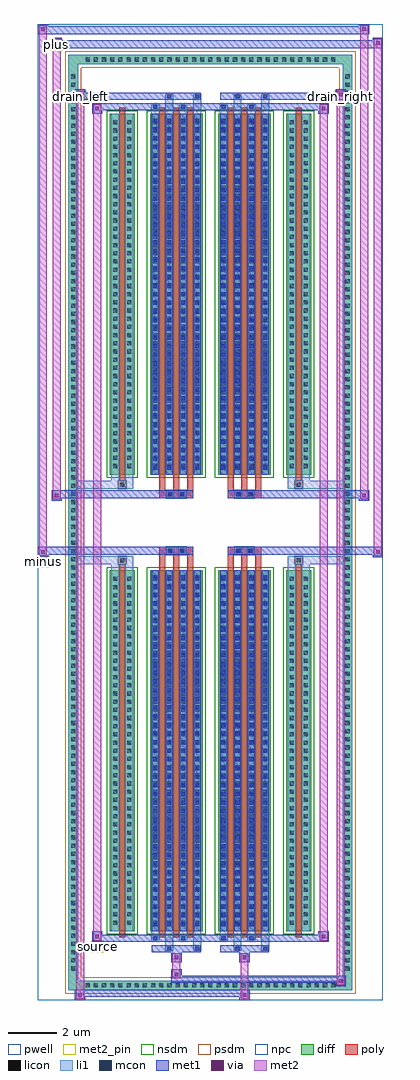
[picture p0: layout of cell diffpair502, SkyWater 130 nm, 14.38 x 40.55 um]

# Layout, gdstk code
import gdstk
lib = gdstk.Library(unit=1e-6, precision=5e-09)
def R(c, l, rs):  # rectangles x0, y0, x1, y1
    for r in rs: c.add(gdstk.rectangle(r[:2], r[2:], *l))
def A(c, l, x, y, w, h, nx, ny, dx, dy):  # array of equal rectangles
    R(c, l, [(x+i*dx, y+j*dy, x+i*dx+w, y+j*dy+h) for i in range(nx) for j in range(ny)])
def P(c, l, *ps):  # polygons
    for p in ps: c.add(gdstk.Polygon(p, *l))
pwell = (64, 44)
diff = (65, 20)
poly = (66, 20)
licon = (66, 44)
li1 = (67, 20)
mcon = (67, 44)
met1 = (68, 20)
via = (68, 44)
met2_pin = (69, 16)
met2 = (69, 20)
nsdm = (93, 44)
psdm = (94, 20)
npc = (95, 20)

diffpair502 = lib.new_cell('diffpair502')
R(diffpair502, pwell, [(-7.17,-19.84,7.17,20.71), (-4.49,-18.03,-0.01,-0.805), (0.01,-18.03,4.49,-0.805), (-4.49,0.805,-0.01,18.03), (0.01,0.805,4.49,18.03)])
A(diffpair502, diff, -5.305, -19.44, 0.41, 0.41, 31, 2, 0.34, 38.47)
A(diffpair502, diff, -5.9, -18.735, 0.41, 0.41, 1, 110, 0, 0.34)
A(diffpair502, diff, 5.49, -18.735, 0.41, 0.41, 1, 110, 0, 0.34)
R(diffpair502, diff, [(-5.305,-19.44,5.305,-19.03), (-5.9,-18.735,-5.49,18.735), (5.49,-18.735,5.9,18.735), (-4.18,-16.985,-3.15,-1.985), (-2.51,-16.985,-0.32,-1.985), (0.32,-16.985,2.51,-1.985), (3.15,-16.985,4.18,-1.985), (-4.18,1.985,-3.15,16.985), (-2.51,1.985,-0.32,16.985), (0.32,1.985,2.51,16.985), (3.15,1.985,4.18,16.985), (-5.305,19.03,5.305,19.44)])
P(diffpair502, diff, [(5.9,19.44),(-5.9,19.44),(-5.9,-19.03),(-5.49,-19.03),(-5.49,19.03),(5.49,19.03),(5.49,-19.03),(-5.49,-19.03),(-5.9,-19.03),(-5.9,-19.44),(5.9,-19.44)])
A(diffpair502, poly, -2.12, -17.235, 0.25, 15.5, 3, 2, 0.58, 18.97)
A(diffpair502, poly, 0.71, -17.235, 0.25, 15.5, 3, 2, 0.58, 18.97)
A(diffpair502, poly, -2.12, -1.735, 0.25, 0.4, 3, 2, 0.58, 3.07)
A(diffpair502, poly, 0.71, -1.735, 0.25, 0.4, 3, 2, 0.58, 3.07)
R(diffpair502, poly, [(-3.79,-17.235,-3.54,-1.735), (3.54,-17.235,3.79,-1.735), (-3.83,-1.735,-3.5,-1.405), (-3.83,-1.735,-3.5,-1.405), (3.5,-1.735,3.83,-1.405), (3.5,-1.735,3.83,-1.405), (-2.12,-1.335,-0.71,-1.005), (-1.83,-1.335,-1.5,-1.005), (-1.33,-1.335,-1,-1.005), (0.71,-1.335,2.12,-1.005), (1,-1.335,1.33,-1.005), (1.5,-1.335,1.83,-1.005), (-2.12,1.005,-0.71,1.335), (-1.83,1.005,-1.5,1.335), (-1.33,1.005,-1,1.335), (0.71,1.005,2.12,1.335), (1,1.005,1.33,1.335), (1.5,1.005,1.83,1.335), (-3.83,1.405,-3.5,1.735), (-3.83,1.405,-3.5,1.735), (3.5,1.405,3.83,1.735), (3.5,1.405,3.83,1.735), (-3.79,1.735,-3.54,17.235), (3.54,1.735,3.79,17.235)])
A(diffpair502, licon, -5.185, -19.32, 0.17, 0.17, 31, 2, 0.34, 38.47)
A(diffpair502, licon, -5.78, -18.615, 0.17, 0.17, 1, 110, 0, 0.34)
A(diffpair502, licon, 5.61, -18.615, 0.17, 0.17, 1, 110, 0, 0.34)
A(diffpair502, licon, -4.04, -16.71, 0.17, 0.17, 1, 43, 0, 0.34)
A(diffpair502, licon, -3.46, -16.71, 0.17, 0.17, 1, 43, 0, 0.34)
A(diffpair502, licon, -2.37, -16.71, 0.17, 0.17, 4, 43, 0.58, 0.34)
A(diffpair502, licon, 0.46, -16.71, 0.17, 0.17, 4, 43, 0.58, 0.34)
A(diffpair502, licon, 3.29, -16.71, 0.17, 0.17, 1, 43, 0, 0.34)
A(diffpair502, licon, 3.87, -16.71, 0.17, 0.17, 1, 43, 0, 0.34)
A(diffpair502, licon, -4.04, 2.26, 0.17, 0.17, 1, 43, 0, 0.34)
A(diffpair502, licon, -3.46, 2.26, 0.17, 0.17, 1, 43, 0, 0.34)
A(diffpair502, licon, -2.37, 2.26, 0.17, 0.17, 4, 43, 0.58, 0.34)
A(diffpair502, licon, 0.46, 2.26, 0.17, 0.17, 4, 43, 0.58, 0.34)
A(diffpair502, licon, 3.29, 2.26, 0.17, 0.17, 1, 43, 0, 0.34)
A(diffpair502, licon, 3.87, 2.26, 0.17, 0.17, 1, 43, 0, 0.34)
R(diffpair502, licon, [(-3.75,-1.655,-3.58,-1.485), (3.58,-1.655,3.75,-1.485), (-1.75,-1.255,-1.58,-1.085), (-1.25,-1.255,-1.08,-1.085), (1.08,-1.255,1.25,-1.085), (1.58,-1.255,1.75,-1.085), (-1.75,1.085,-1.58,1.255), (-1.25,1.085,-1.08,1.255), (1.08,1.085,1.25,1.255), (1.58,1.085,1.75,1.255), (-3.75,1.485,-3.58,1.655), (3.58,1.485,3.75,1.655)])
A(diffpair502, li1, -5.265, -19.4, 0.33, 0.33, 31, 2, 0.34, 38.47)
A(diffpair502, li1, -5.86, -18.695, 0.33, 0.33, 1, 110, 0, 0.34)
A(diffpair502, li1, 5.53, -18.695, 0.33, 0.33, 1, 110, 0, 0.34)
A(diffpair502, li1, -2.45, -16.985, 0.33, 15, 4, 2, 0.58, 18.97)
A(diffpair502, li1, 0.38, -16.985, 0.33, 15, 4, 2, 0.58, 18.97)
A(diffpair502, li1, -4.12, -16.79, 0.33, 0.33, 1, 43, 0, 0.34)
A(diffpair502, li1, -3.54, -16.79, 0.33, 0.33, 1, 43, 0, 0.34)
A(diffpair502, li1, -2.45, -16.79, 0.33, 0.33, 4, 43, 0.58, 0.34)
A(diffpair502, li1, 0.38, -16.79, 0.33, 0.33, 4, 43, 0.58, 0.34)
A(diffpair502, li1, 3.21, -16.79, 0.33, 0.33, 1, 43, 0, 0.34)
A(diffpair502, li1, 3.79, -16.79, 0.33, 0.33, 1, 43, 0, 0.34)
A(diffpair502, li1, -2.37, -16.77, 0.17, 0.17, 4, 41, 0.58, 0.36)
A(diffpair502, li1, -2.37, -16.77, 0.17, 14.57, 4, 2, 0.58, 18.97)
A(diffpair502, li1, 0.46, -16.77, 0.17, 0.17, 4, 41, 0.58, 0.36)
A(diffpair502, li1, 0.46, -16.77, 0.17, 14.57, 4, 2, 0.58, 18.97)
A(diffpair502, li1, -4.12, 2.18, 0.33, 0.33, 1, 43, 0, 0.34)
A(diffpair502, li1, -3.54, 2.18, 0.33, 0.33, 1, 43, 0, 0.34)
A(diffpair502, li1, -2.45, 2.18, 0.33, 0.33, 4, 43, 0.58, 0.34)
A(diffpair502, li1, 0.38, 2.18, 0.33, 0.33, 4, 43, 0.58, 0.34)
A(diffpair502, li1, 3.21, 2.18, 0.33, 0.33, 1, 43, 0, 0.34)
A(diffpair502, li1, 3.79, 2.18, 0.33, 0.33, 1, 43, 0, 0.34)
A(diffpair502, li1, -2.37, 2.2, 0.17, 0.17, 4, 41, 0.58, 0.36)
A(diffpair502, li1, 0.46, 2.2, 0.17, 0.17, 4, 41, 0.58, 0.36)
R(diffpair502, li1, [(-5.9,-19.44,-5.49,-19.03), (-5.9,-19.44,-5.49,-19.03), (-5.49,-19.44,5.49,-19.03), (5.49,-19.44,5.9,-19.03), (5.49,-19.44,5.9,-19.03), (-5.9,-19.03,-5.49,19.03), (5.49,-19.03,5.9,19.03), (-1.87,-17.79,-1.54,-16.985), (-1.79,-17.79,-1.62,-17.62), (-0.71,-17.79,-0.38,-16.985), (-0.63,-17.79,-0.46,-17.62), (0.96,-17.79,1.29,-16.985), (1.04,-17.79,1.21,-17.62), (2.12,-17.79,2.45,-16.985), (2.2,-17.79,2.37,-17.62), (-2.45,-17.36,-2.12,-16.985), (-2.37,-17.36,-2.2,-17.19), (-1.29,-17.36,-0.96,-16.985), (-1.21,-17.36,-1.04,-17.19), (0.38,-17.36,0.71,-16.985), (0.46,-17.36,0.63,-17.19), (1.54,-17.36,1.87,-16.985), (1.62,-17.36,1.79,-17.19), (-4.12,-16.985,-3.79,-1.985), (-3.54,-16.985,-3.21,-1.985), (3.21,-16.985,3.54,-1.985), (3.79,-16.985,4.12,-1.985), (-4.12,-1.985,-3.79,-1.405), (-3.54,-1.985,-3.21,-1.405), (3.21,-1.985,3.54,-1.405), (3.79,-1.985,4.12,-1.405), (-5.9,-1.735,-3.83,-1.405), (-4.12,-1.735,-3.83,-1.405), (-3.83,-1.735,-3.5,-1.405), (-3.5,-1.735,-3.21,-1.405), (3.21,-1.735,3.5,-1.405), (3.5,-1.735,3.83,-1.405), (3.5,-1.735,5.9,-1.405), (3.83,-1.735,4.12,-1.405), (-1.83,-1.335,-1.5,-1.005), (-1.33,-1.335,-1,-1.005), (1,-1.335,1.33,-1.005), (1.5,-1.335,1.83,-1.005), (-1.83,1.005,-1.5,1.335), (-1.33,1.005,-1,1.335), (1,1.005,1.33,1.335), (1.5,1.005,1.83,1.335), (-5.9,1.405,-3.83,1.735), (-4.12,1.405,-3.83,1.735), (-4.12,1.405,-3.79,1.985), (-3.83,1.405,-3.5,1.735), (-3.54,1.405,-3.21,1.985), (-3.5,1.405,-3.21,1.735), (3.21,1.405,3.5,1.735), (3.21,1.405,3.54,1.985), (3.5,1.405,3.83,1.735), (3.5,1.405,5.9,1.735), (3.79,1.405,4.12,1.985), (3.83,1.405,4.12,1.735), (-4.12,1.985,-3.79,16.985), (-3.54,1.985,-3.21,16.985), (3.21,1.985,3.54,16.985), (3.79,1.985,4.12,16.985), (-2.45,16.985,-2.12,17.36), (-1.87,16.985,-1.54,17.79), (-1.29,16.985,-0.96,17.36), (-0.71,16.985,-0.38,17.79), (0.38,16.985,0.71,17.36), (0.96,16.985,1.29,17.79), (1.54,16.985,1.87,17.36), (2.12,16.985,2.45,17.79), (-2.37,17.19,-2.2,17.36), (-1.21,17.19,-1.04,17.36), (0.46,17.19,0.63,17.36), (1.62,17.19,1.79,17.36), (-1.79,17.62,-1.62,17.79), (-0.63,17.62,-0.46,17.79), (1.04,17.62,1.21,17.79), (2.2,17.62,2.37,17.79), (-5.9,19.03,-5.49,19.44), (-5.9,19.03,-5.49,19.44), (-5.49,19.03,5.49,19.44), (5.49,19.03,5.9,19.44), (5.49,19.03,5.9,19.44)])
A(diffpair502, mcon, -2.37, -16.77, 0.17, 0.17, 4, 41, 0.58, 0.36)
A(diffpair502, mcon, 0.46, -16.77, 0.17, 0.17, 4, 41, 0.58, 0.36)
A(diffpair502, mcon, -2.37, 2.2, 0.17, 0.17, 4, 41, 0.58, 0.36)
A(diffpair502, mcon, 0.46, 2.2, 0.17, 0.17, 4, 41, 0.58, 0.36)
R(diffpair502, mcon, [(-1.79,-17.79,-1.62,-17.62), (-0.63,-17.79,-0.46,-17.62), (1.04,-17.79,1.21,-17.62), (2.2,-17.79,2.37,-17.62), (-2.37,-17.36,-2.2,-17.19), (-1.21,-17.36,-1.04,-17.19), (0.46,-17.36,0.63,-17.19), (1.62,-17.36,1.79,-17.19), (-1.75,-1.255,-1.58,-1.085), (-1.25,-1.255,-1.08,-1.085), (1.08,-1.255,1.25,-1.085), (1.58,-1.255,1.75,-1.085), (-1.75,1.085,-1.58,1.255), (-1.25,1.085,-1.08,1.255), (1.08,1.085,1.25,1.255), (1.58,1.085,1.75,1.255), (-2.37,17.19,-2.2,17.36), (-1.21,17.19,-1.04,17.36), (0.46,17.19,0.63,17.36), (1.62,17.19,1.79,17.36), (-1.79,17.62,-1.62,17.79), (-0.63,17.62,-0.46,17.79), (1.04,17.62,1.21,17.79), (2.2,17.62,2.37,17.79)])
A(diffpair502, met1, -2.43, -16.985, 0.29, 15, 4, 2, 0.58, 18.97)
A(diffpair502, met1, 0.4, -16.985, 0.29, 15, 4, 2, 0.58, 18.97)
A(diffpair502, met1, -2.43, -16.83, 0.29, 0.29, 4, 41, 0.58, 0.36)
A(diffpair502, met1, 0.4, -16.83, 0.29, 0.29, 4, 41, 0.58, 0.36)
A(diffpair502, met1, -2.43, 2.14, 0.29, 0.29, 4, 41, 0.58, 0.36)
A(diffpair502, met1, 0.4, 2.14, 0.29, 0.29, 4, 41, 0.58, 0.36)
R(diffpair502, met1, [(-5.63,-19.84,-5.2,-19.41), (1.2,-19.84,1.63,-19.41), (-5.63,-19.7,1.63,-19.41), (5.2,-19.27,5.63,-18.84), (-1.63,-19.13,5.63,-18.84), (-1.63,-18.99,-1.2,-18.56), (-1.63,-18.28,-1.2,-17.85), (1.2,-18.28,1.63,-17.85), (-2.43,-17.85,-0.4,-17.56), (-1.85,-17.85,-1.56,-17.56), (-0.69,-17.85,-0.4,-17.56), (0.4,-17.85,2.43,-17.56), (0.98,-17.85,1.27,-17.56), (2.14,-17.85,2.43,-17.56), (-4.92,-17.42,-4.49,-16.99), (-4.92,-17.42,-2.43,-17.13), (-2.43,-17.42,-2.14,-17.13), (-2.43,-17.42,-0.4,-17.13), (-1.27,-17.42,-0.98,-17.13), (-0.4,-17.42,0.4,-17.13), (0.4,-17.42,0.69,-17.13), (0.4,-17.42,2.43,-17.13), (1.56,-17.42,1.85,-17.13), (2.43,-17.42,4.92,-17.13), (4.49,-17.42,4.92,-16.99), (-7.17,-1.435,-6.74,-1.005), (6.74,-1.435,7.17,-1.005), (-7.17,-1.335,-0.71,-1.005), (-2.12,-1.335,-0.71,-1.005), (0.71,-1.335,2.12,-1.005), (0.71,-1.335,7.17,-1.005), (-1.81,-1.315,-1.52,-1.025), (-1.31,-1.315,-1.02,-1.025), (1.02,-1.315,1.31,-1.025), (1.52,-1.315,1.81,-1.025), (-6.6,0.905,-6.17,1.335), (6.17,0.905,6.6,1.335), (-6.6,1.005,-2.12,1.335), (-2.12,1.005,-0.71,1.335), (0.71,1.005,2.12,1.335), (2.12,1.005,6.6,1.335), (-1.81,1.025,-1.52,1.315), (-1.31,1.025,-1.02,1.315), (1.02,1.025,1.31,1.315), (1.52,1.025,1.81,1.315), (-4.92,16.99,-4.49,17.42), (4.49,16.99,4.92,17.42), (-4.92,17.13,-2.43,17.42), (-2.43,17.13,-2.14,17.42), (-2.43,17.13,-0.4,17.42), (-1.27,17.13,-0.98,17.42), (-0.4,17.13,0.4,17.42), (0.4,17.13,0.69,17.42), (0.4,17.13,2.43,17.42), (1.56,17.13,1.85,17.42), (2.43,17.13,4.92,17.42), (-5.63,17.56,-5.2,17.99), (-5.63,17.56,-2.43,17.85), (-2.43,17.56,-0.4,17.85), (-1.85,17.56,-1.56,17.85), (-0.69,17.56,-0.4,17.85), (0.4,17.56,2.43,17.85), (0.98,17.56,1.27,17.85), (2.14,17.56,2.43,17.85), (2.43,17.56,5.63,17.85), (5.2,17.56,5.63,17.99), (-6.6,19.71,-6.17,20.14), (-6.6,19.71,-4.49,20.04), (-4.49,19.71,4.49,20.04), (4.49,19.71,7.17,20.04), (6.74,19.71,7.17,20.14), (-7.17,20.28,-6.74,20.71), (-7.17,20.28,-4.49,20.61), (-4.49,20.28,4.49,20.61), (4.49,20.28,6.6,20.61), (6.17,20.28,6.6,20.71)])
R(diffpair502, via, [(-5.49,-19.7,-5.34,-19.55), (1.34,-19.7,1.49,-19.55), (5.34,-19.13,5.49,-18.98), (-1.49,-18.85,-1.34,-18.7), (-1.49,-18.14,-1.34,-17.99), (1.34,-18.14,1.49,-17.99), (-4.78,-17.28,-4.63,-17.13), (4.63,-17.28,4.78,-17.13), (-7.03,-1.295,-6.88,-1.145), (6.88,-1.295,7.03,-1.145), (-6.46,1.045,-6.31,1.195), (6.31,1.045,6.46,1.195), (-4.78,17.13,-4.63,17.28), (4.63,17.13,4.78,17.28), (-5.49,17.7,-5.34,17.85), (5.34,17.7,5.49,17.85), (-6.46,19.85,-6.31,20), (6.88,19.85,7.03,20), (-7.03,20.42,-6.88,20.57), (6.31,20.42,6.46,20.57)])
R(diffpair502, met2_pin, [(-4.955,-17.87,-4.455,-17.37), (-7.205,-1.885,-6.705,-1.385), (-5.665,17.44,-5.165,17.94), (5.165,17.44,5.665,17.94), (-6.635,19.59,-6.135,20.09)])
R(diffpair502, met2, [(-5.58,-19.79,-5.25,-19.46), (-5.58,-19.79,-5.25,17.94), (1.25,-19.79,1.58,-19.46), (1.25,-19.46,1.58,-18.23), (5.25,-19.22,5.58,-18.89), (5.25,-19.22,5.58,17.94), (-1.58,-18.94,-1.25,-18.61), (-1.58,-18.61,-1.25,-18.23), (-1.58,-18.23,-1.25,-17.9), (1.25,-18.23,1.58,-17.9), (-4.87,-17.37,-4.54,-17.04), (-4.87,-17.37,-4.54,17.37), (4.54,-17.37,4.87,-17.04), (4.54,-17.37,4.87,17.37), (-7.12,-1.385,-6.79,-1.055), (-7.12,-1.385,-6.79,20.66), (6.79,-1.385,7.12,-1.055), (6.79,-1.385,7.12,20.09), (-6.55,0.955,-6.22,1.285), (-6.55,0.955,-6.22,20.09), (6.22,0.955,6.55,1.285), (6.22,0.955,6.55,20.66), (-4.87,17.04,-4.54,17.37), (4.54,17.04,4.87,17.37), (-5.58,17.61,-5.25,17.94), (5.25,17.61,5.58,17.94), (-6.55,19.76,-6.22,20.09), (6.79,19.76,7.12,20.09), (-7.12,20.33,-6.79,20.66), (6.22,20.33,6.55,20.66)])
P(diffpair502, met2, [(7.12,-1.385),(7.12,-1.385),(7.12,-1.055),(7.12,-1.055)],
  [(7.12,19.76),(7.12,19.76),(7.12,20.09),(7.12,20.09)],
  [(-6.79,-1.385),(-6.79,-1.385),(-6.79,-1.055),(-6.79,-1.055)],
  [(-6.79,20.33),(-6.79,20.33),(-6.79,20.66),(-6.79,20.66)],
  [(6.55,0.955),(6.55,0.955),(6.55,1.285),(6.55,1.285)],
  [(6.55,20.33),(6.55,20.33),(6.55,20.66),(6.55,20.66)],
  [(-6.22,0.955),(-6.22,0.955),(-6.22,1.285),(-6.22,1.285)],
  [(-6.22,19.76),(-6.22,19.76),(-6.22,20.09),(-6.22,20.09)],
  [(-5.25,-19.79),(-5.25,-19.79),(-5.25,-19.46),(-5.25,-19.46)],
  [(-5.25,17.61),(-5.25,17.61),(-5.25,17.94),(-5.25,17.94)],
  [(5.58,-19.22),(5.58,-19.22),(5.58,-18.89),(5.58,-18.89)],
  [(5.58,17.61),(5.58,17.61),(5.58,17.94),(5.58,17.94)],
  [(-4.54,-17.37),(-4.54,-17.37),(-4.54,-17.04),(-4.54,-17.04)],
  [(-4.54,17.04),(-4.54,17.04),(-4.54,17.37),(-4.54,17.37)],
  [(4.87,-17.37),(4.87,-17.37),(4.87,-17.04),(4.87,-17.04)],
  [(4.87,17.04),(4.87,17.04),(4.87,17.37),(4.87,17.37)])
R(diffpair502, nsdm, [(-4.31,-17.115,-3.02,-1.855), (-2.64,-17.115,-0.19,-1.855), (0.19,-17.115,2.64,-1.855), (3.02,-17.115,4.31,-1.855), (-4.31,1.855,-3.02,17.115), (-2.64,1.855,-0.19,17.115), (0.19,1.855,2.64,17.115), (3.02,1.855,4.31,17.115)])
P(diffpair502, psdm, [(6.03,19.57),(-6.03,19.57),(-6.03,-18.9),(-5.36,-18.9),(-5.36,18.9),(5.36,18.9),(5.36,-18.9),(-5.36,-18.9),(-6.03,-18.9),(-6.03,-19.57),(6.03,-19.57)])
R(diffpair502, npc, [(-3.85,-1.755,-3.48,-1.385), (3.48,-1.755,3.85,-1.385), (-1.85,-1.355,-1.48,-0.985), (-1.85,-1.355,-0.98,-0.985), (-1.85,-1.355,-0.98,-0.985), (-1.35,-1.355,-0.98,-0.985), (0.98,-1.355,1.35,-0.985), (0.98,-1.355,1.85,-0.985), (0.98,-1.355,1.85,-0.985), (1.48,-1.355,1.85,-0.985), (-1.85,0.985,-1.48,1.355), (-1.85,0.985,-0.98,1.355), (-1.85,0.985,-0.98,1.355), (-1.35,0.985,-0.98,1.355), (0.98,0.985,1.35,1.355), (0.98,0.985,1.85,1.355), (0.98,0.985,1.85,1.355), (1.48,0.985,1.85,1.355), (-3.85,1.385,-3.48,1.755), (3.48,1.385,3.85,1.755)])
diffpair502.add(gdstk.Label('minus', (-6.955,-1.635), layer=69, texttype=5))
diffpair502.add(gdstk.Label('drain_right', (5.415,17.69), layer=69, texttype=5))
diffpair502.add(gdstk.Label('drain_left', (-5.415,17.69), layer=69, texttype=5))
diffpair502.add(gdstk.Label('source', (-4.705,-17.62), layer=69, texttype=5))
diffpair502.add(gdstk.Label('plus', (-6.385,19.84), layer=69, texttype=5))

lib.write_gds('diffpair502.gds')
